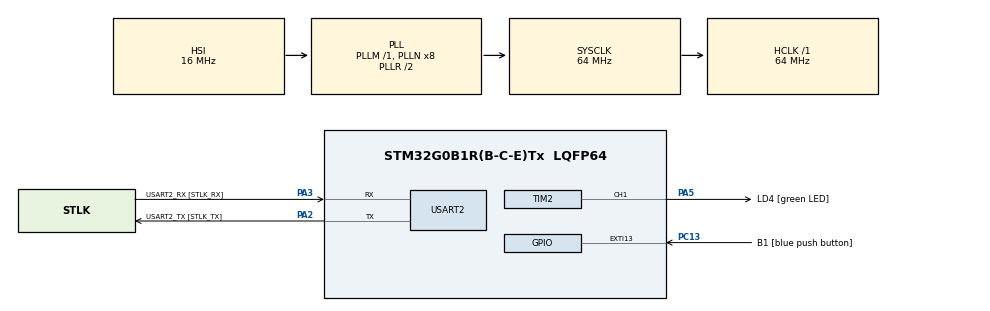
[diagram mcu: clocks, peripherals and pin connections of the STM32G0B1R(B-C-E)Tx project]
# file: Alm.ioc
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FREERTOS.Queues01=queLedTask,20,uint8_t,0,Dynamic,NULL,NULL;queBtnTask,20,uint8_t,0,Dynamic,NULL,NULL;queSwdTask,20,uint8_t,0,Dynamic,NULL,NULL
FREERTOS.Tasks01=defaultTask,24,128,StartDefaultTask,Default,NULL,Dynamic,NULL,NULL;TSK_LED,8,256,vidTaskLed,Default,NULL,Dynamic,NULL,NULL;TSK_BTN,8,256,vidTaskButton,Default,NULL,Dynamic,NULL,NULL;TSK_SWD,8,256,vidTaskSwd,Default,NULL,Dynamic,NULL,NULL
FREERTOS.configTOTAL_HEAP_SIZE=8192
FREERTOS.configUSE_NEWLIB_REENTRANT=1
Mcu.Family=STM32G0
Mcu.Name=STM32G0B1R(B-C-E)Tx
Mcu.Package=LQFP64
NVIC.TIM17_FDCAN_IT1_IRQn=true\:3\:0\:false\:false\:true\:false\:false\:true\:true
NVIC.TimeBase=TIM17_FDCAN_IT1_IRQn
NVIC.TimeBaseIP=TIM17
PA13.GPIO_Label=TMS
PA13.Mode=Serial_Wire
PA13.Signal=SYS_SWDIO
PA14-BOOT0.GPIO_Label=TCK
PA14-BOOT0.Mode=Serial_Wire
PA14-BOOT0.Signal=SYS_SWCLK
PA2.GPIO_Label=USART2_TX [STLK_TX]
PA2.Mode=Asynchronous
PA2.Signal=USART2_TX
PA3.GPIO_Label=USART2_RX [STLK_RX]
PA3.Mode=Asynchronous
PA3.Signal=USART2_RX
PA5.GPIO_Label=LD4 [green LED]
PA5.Signal=S_TIM2_CH1_ETR
PC13.GPIO_Label=B1 [blue push button]
PC13.Signal=GPXTI13
PC14-OSC32_IN\ (PC14).Mode=LSE-External-Oscillator
PC14-OSC32_IN\ (PC14).Signal=RCC_OSC32_IN
PC15-OSC32_OUT\ (PC15).Mode=LSE-External-Oscillator
PC15-OSC32_OUT\ (PC15).Signal=RCC_OSC32_OUT
PF0-OSC_IN\ (PF0).GPIO_Label=MCO
PF0-OSC_IN\ (PF0).Mode=HSE-External-Clock-Source
PF0-OSC_IN\ (PF0).Signal=RCC_OSC_IN
ProjectManager.HeapSize=0x200
ProjectManager.StackSize=0x400
ProjectManager.TargetToolchain=STM32CubeIDE
RCC.ADCFreq_Value=64000000
RCC.AHBFreq_Value=64000000
RCC.CortexFreq_Value=64000000
RCC.EXTERNAL_CLOCK_VALUE=12288000
RCC.HCLKFreq_Value=64000000
RCC.HSE_VALUE=8000000
RCC.HSI48_VALUE=48000000
RCC.HSI_VALUE=16000000
RCC.SYSCLKFreq_VALUE=64000000
RCC.SYSCLKSource=RCC_SYSCLKSOURCE_PLLCLK
RCC.USBFreq_Value=48000000
RCC.VCOOutputFreq_Value=128000000
SH.S_TIM2_CH1_ETR.0=TIM2_CH1,PWM Generation1 CH1
TIM2.Channel-PWM\ Generation1\ CH1=TIM_CHANNEL_1
TIM2.Period=1599
USART2.VirtualMode-Asynchronous=VM_ASYNC
VP_FREERTOS_VS_CMSIS_V2.Mode=CMSIS_V2
VP_SYS_VS_DBSignals.Mode=DisableDeadBatterySignals
VP_SYS_VS_tim17.Mode=TIM17
VP_TIM2_VS_ClockSourceINT.Mode=Internal
board=NUCLEO-G0B1RE

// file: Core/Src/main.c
/* USER CODE BEGIN Header */
/**
  ******************************************************************************
  * @file           : main.c
  * @brief          : Main program body
  ******************************************************************************
  * @attention
  *
  * Copyright (c) 2024 STMicroelectronics.
  * All rights reserved.
  *
  * This software is licensed under terms that can be found in the LICENSE file
  * in the root directory of this software component.
  * If no LICENSE file comes with this software, it is provided AS-IS.
  *
  ******************************************************************************
  */
/* USER CODE END Header */
#include "main.h"
#include "cmsis_os.h"
#include "tim.h"
#include "usart.h"
#include "gpio.h"

/* USER CODE BEGIN Includes */
#include "feature_periodic.h"
#include "alm_api.h"

/* USER CODE END Includes */

void SystemClock_Config(void);
void MX_FREERTOS_Init(void);

int main(void)
{

  /* MCU Configuration--------------------------------------------------------*/

  /* Reset of all peripherals, Initializes the Flash interface and the Systick. */
  HAL_Init();

  /* Configure the system clock */
  SystemClock_Config();

  /* Initialize all configured peripherals */
  MX_GPIO_Init();
  MX_USART2_UART_Init();
  MX_TIM2_Init();

  /* Init scheduler */
  osKernelInitialize();  /* Call init function for freertos objects (in cmsis_os2.c) */
  MX_FREERTOS_Init();

  /* Start scheduler */
  osKernelStart();

  /* We should never get here as control is now taken by the scheduler */

  /* Infinite loop */
  /* USER CODE BEGIN WHILE */
  vidPeriodicServiceInitialize();
  vidTaskBtnInitialize();
  vidTaskLedInitialize();
  vidTaskSwdInitialize();

  while (1)
  {
    /* USER CODE END WHILE */

  }
}

void SystemClock_Config(void)
{
  RCC_OscInitTypeDef RCC_OscInitStruct = {0};
  RCC_ClkInitTypeDef RCC_ClkInitStruct = {0};

  /** Configure the main internal regulator output voltage
  */
  HAL_PWREx_ControlVoltageScaling(PWR_REGULATOR_VOLTAGE_SCALE1);

  /** Initializes the RCC Oscillators according to the specified parameters
  * in the RCC_OscInitTypeDef structure.
  */
  RCC_OscInitStruct.OscillatorType = RCC_OSCILLATORTYPE_HSI;
  RCC_OscInitStruct.HSIState = RCC_HSI_ON;
  RCC_OscInitStruct.HSIDiv = RCC_HSI_DIV1;
  RCC_OscInitStruct.HSICalibrationValue = RCC_HSICALIBRATION_DEFAULT;
  RCC_OscInitStruct.PLL.PLLState = RCC_PLL_ON;
  RCC_OscInitStruct.PLL.PLLSource = RCC_PLLSOURCE_HSI;
  RCC_OscInitStruct.PLL.PLLM = RCC_PLLM_DIV1;
  RCC_OscInitStruct.PLL.PLLN = 8;
  RCC_OscInitStruct.PLL.PLLP = RCC_PLLP_DIV2;
  RCC_OscInitStruct.PLL.PLLQ = RCC_PLLQ_DIV2;
  RCC_OscInitStruct.PLL.PLLR = RCC_PLLR_DIV2;
  if (HAL_RCC_OscConfig(&RCC_OscInitStruct) != HAL_OK)
  {
    Error_Handler();
  }

  /** Initializes the CPU, AHB and APB buses clocks
  */
  RCC_ClkInitStruct.ClockType = RCC_CLOCKTYPE_HCLK|RCC_CLOCKTYPE_SYSCLK
                              |RCC_CLOCKTYPE_PCLK1;
  RCC_ClkInitStruct.SYSCLKSource = RCC_SYSCLKSOURCE_PLLCLK;
  RCC_ClkInitStruct.AHBCLKDivider = RCC_SYSCLK_DIV1;
  RCC_ClkInitStruct.APB1CLKDivider = RCC_HCLK_DIV1;

  if (HAL_RCC_ClockConfig(&RCC_ClkInitStruct, FLASH_LATENCY_2) != HAL_OK)
  {
    Error_Handler();
  }
}

void HAL_TIM_PeriodElapsedCallback(TIM_HandleTypeDef *htim)
{
  if (htim->Instance == TIM17)
  {
    HAL_IncTick();
  }
}

void Error_Handler(void)
{
  __disable_irq();
  while (1)
  {
  }
}

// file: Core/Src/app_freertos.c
/* USER CODE BEGIN Header */
/**
  ******************************************************************************
  * File Name          : app_freertos.c
  * Description        : Code for freertos applications
  ******************************************************************************
  * @attention
  *
  * Copyright (c) 2024 STMicroelectronics.
  * All rights reserved.
  *
  * This software is licensed under terms that can be found in the LICENSE file
  * in the root directory of this software component.
  * If no LICENSE file comes with this software, it is provided AS-IS.
  *
  ******************************************************************************
  */
/* USER CODE END Header */

#include "FreeRTOS.h"
#include "task.h"
#include "main.h"
#include "cmsis_os.h"

/* USER CODE BEGIN Includes */
#include "alm_api.h"
#include "feature_periodic.h"

/* USER CODE END Includes */

/* USER CODE BEGIN Variables */

PRIVATE U32 gu32SysTickCounter; /**< The base counter for frequency division for each periodic service. */

/** gstrXlmTransitionTbl is a private const table holding periodic service information. */
PRIVATE const tstrPeriodicService gstrPeriodicServiceTable[PRD_SRV_MAX] = {
  { PRD_SRV_HIGH, vidIsbInitialize,  vidIsbService  },
  { PRD_SRV_HIGH, vidIslInitialize,  vidIslService  },
};

/* USER CODE END Variables */
/* Definitions for defaultTask */
osThreadId_t defaultTaskHandle;
const osThreadAttr_t defaultTask_attributes = {
  .name = "defaultTask",
  .priority = (osPriority_t) osPriorityNormal,
  .stack_size = 128 * 4
};
/* Definitions for TSK_LED */
osThreadId_t TSK_LEDHandle;
const osThreadAttr_t TSK_LED_attributes = {
  .name = "TSK_LED",
  .priority = (osPriority_t) osPriorityLow,
  .stack_size = 256 * 4
};
/* Definitions for TSK_BTN */
osThreadId_t TSK_BTNHandle;
const osThreadAttr_t TSK_BTN_attributes = {
  .name = "TSK_BTN",
  .priority = (osPriority_t) osPriorityLow,
  .stack_size = 256 * 4
};
/* Definitions for TSK_SWD */
osThreadId_t TSK_SWDHandle;
const osThreadAttr_t TSK_SWD_attributes = {
  .name = "TSK_SWD",
  .priority = (osPriority_t) osPriorityLow,
  .stack_size = 256 * 4
};
/* Definitions for queLedTask */
osMessageQueueId_t queLedTaskHandle;
const osMessageQueueAttr_t queLedTask_attributes = {
  .name = "queLedTask"
};
/* Definitions for queBtnTask */
osMessageQueueId_t queBtnTaskHandle;
const osMessageQueueAttr_t queBtnTask_attributes = {
  .name = "queBtnTask"
};
/* Definitions for queSwdTask */
osMessageQueueId_t queSwdTaskHandle;
const osMessageQueueAttr_t queSwdTask_attributes = {
  .name = "queSwdTask"
};

void StartDefaultTask(void *argument);
void vidTaskLed(void *argument);
void vidTaskButton(void *argument);
void vidTaskSwd(void *argument);

void MX_FREERTOS_Init(void); /* (MISRA C 2004 rule 8.1) */

void MX_FREERTOS_Init(void) {

  /* Create the queue(s) */
  /* creation of queLedTask */
  queLedTaskHandle = osMessageQueueNew (20, sizeof(uint8_t), &queLedTask_attributes);

  /* creation of queBtnTask */
  queBtnTaskHandle = osMessageQueueNew (20, sizeof(uint8_t), &queBtnTask_attributes);

  /* creation of queSwdTask */
  queSwdTaskHandle = osMessageQueueNew (20, sizeof(uint8_t), &queSwdTask_attributes);

  /* Create the thread(s) */
  /* creation of defaultTask */
  defaultTaskHandle = osThreadNew(StartDefaultTask, NULL, &defaultTask_attributes);

  /* creation of TSK_LED */
  TSK_LEDHandle = osThreadNew(vidTaskLed, NULL, &TSK_LED_attributes);

  /* creation of TSK_BTN */
  TSK_BTNHandle = osThreadNew(vidTaskButton, NULL, &TSK_BTN_attributes);

  /* creation of TSK_SWD */
  TSK_SWDHandle = osThreadNew(vidTaskSwd, NULL, &TSK_SWD_attributes);

}

void StartDefaultTask(void *argument)
{
  for(;;)
  {
    osDelay(1);
  }
}

void vidTaskLed(void *argument)
{
  /* USER CODE BEGIN vidTaskLed */
  /* Infinite loop */
  for(;;)
  {
    vidTaskLedProcess();
  }
  /* USER CODE END vidTaskLed */
}

void vidTaskButton(void *argument)
{
  /* USER CODE BEGIN vidTaskButton */
  /* Infinite loop */
  for(;;)
  {
    vidTaskBtnProcess();
  }
  /* USER CODE END vidTaskButton */
}

void vidTaskSwd(void *argument)
{
  /* USER CODE BEGIN vidTaskSwd */
  /* Infinite loop */
  for(;;)
  {
    vidTaskSwdProcess();
  }
  /* USER CODE END vidTaskSwd */
}

/* USER CODE BEGIN Application */

/**
 * @brief   Public function that initialize periodic services.
 * @param   void
 * @sa      gstrPeriodicServiceTable
 * @return  void
 */
PUBLIC void vidPeriodicServiceInitialize(void) {
  uint16_t i;
  const tstrPeriodicService* pService;

  gu32SysTickCounter = 0;
  pService = &(gstrPeriodicServiceTable[0]);
  for (i=0; i<(uint16_t)PRD_SRV_MAX; i++) {
    if (pService->pfInitialize != NULL) {
      pService->pfInitialize(NULL);
    }
    pService++;
  }
}

/**
 * @brief   Public function that process periodic services every SysTick(1ms).
 * @param   void
 * @sa      gstrPeriodicServiceTable
 * @return  void
 */
void vApplicationTickHook(void) {
  uint16_t i;
  const tstrPeriodicService* pService;

  gu32SysTickCounter++;
  pService = &(gstrPeriodicServiceTable[0]);
  for (i=0; i<(uint16_t)PRD_SRV_MAX; i++) {
    if ((gu32SysTickCounter % pService->u16Period) == 0) {
      if (pService->pfService != NULL) {
        pService->pfService(NULL);
      }
    }
    pService++;
  }
}

/* USER CODE END Application */
